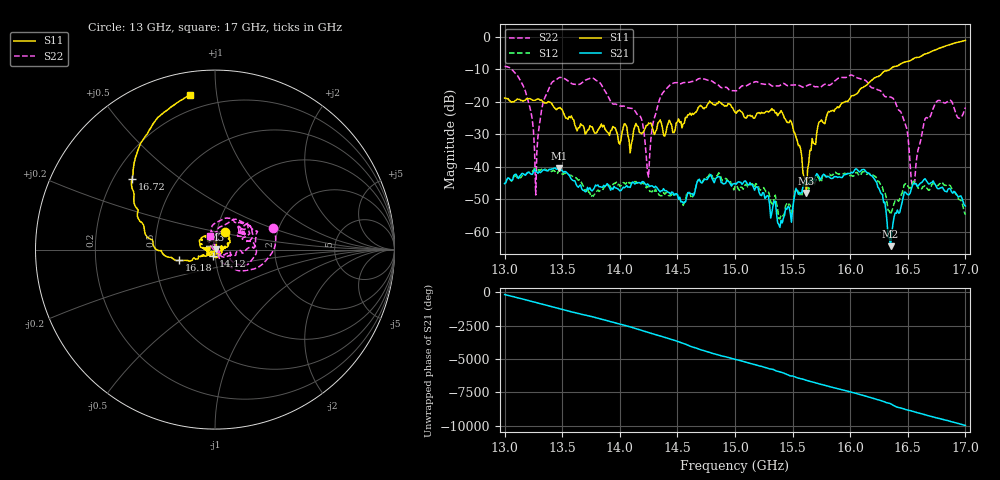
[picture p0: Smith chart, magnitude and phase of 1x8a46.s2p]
!Keysight Technologies,P9374A,MY57211807,A.19.30.04
!Date: Friday, May 08, 2026 14:14:22
!Correction: S11(C  2-Port  )
!S21(C  2-Port  )
!S12(C  2-Port  )
!S22(C  2-Port  )
!S2P File: Measurements: S11, S21, S12, S22:
# Hz S  dB  R 50
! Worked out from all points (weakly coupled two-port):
!   401 points, 13 GHz to 17 GHz, reference 50 ohm
!   highest |S21| = -40.34 dB at 13.47 GHz (marker M1); lowest = -64.4 dB at 16.35 GHz (marker M2)
!   lowest |S11| = -48.0 dB at 15.62 GHz (marker M3), VSWR 1.01, Z = 50.4 + j0.099 ohm
!   |S11| at or under -10 dB: start of sweep to 16.35 GHz
!   |S22| runs from -48.7 to -9.2 dB; largest |S21 - S12| = 0.0017
!   S11 on the Smith chart (normalised r, x): 13 GHz: 1.10, +0.22; 14.12 GHz: 0.98, -0.07; 16.18 GHz: 0.66, -0.08; 16.72 GHz: 0.28, +0.34; 17 GHz: 0.12, +0.84
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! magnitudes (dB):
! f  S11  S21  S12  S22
! 13 GHz  -18.9  -45.1  -44.7  -9.2
! 13.18 GHz  -19.5  -42.6  -42.5  -16.7
! 13.27 GHz  -19.5  -41.2  -40.7  -48.7
! 13.34 GHz  -20.1  -40.9  -40.5  -19.6
! 13.47 GHz  -22.0  -40.3  -41.1  -12.7
! 13.67 GHz  -27.3  -46.8  -45.1  -14.2
! 14.12 GHz  -28.8  -44.8  -44.2  -22.3
! 14.19 GHz  -29.8  -44.7  -45.2  -25.5
! 14.24 GHz  -27.2  -45.2  -46.0  -41.7
! 14.34 GHz  -26.2  -47.2  -48.6  -19.8
! 14.7 GHz  -21.1  -44.6  -44.4  -12.9
! 15 GHz  -23.1  -45.1  -46.0  -16.6
! 15.39 GHz  -23.4  -58.6  -55.9  -15.0
! 15.62 GHz  -48.0  -44.6  -45.5  -15.2
! 15.67 GHz  -31.3  -43.8  -44.6  -15.0
! 16.18 GHz  -13.6  -42.7  -42.7  -15.5
! 16.34 GHz  -10.2  -61.7  -53.6  -18.5
! 16.35 GHz  -9.9  -64.4  -54.7  -18.6
! 16.48 GHz  -7.8  -47.8  -45.2  -27.1
! 16.54 GHz  -7.0  -45.8  -45.1  -45.8
! 16.72 GHz  -4.4  -44.3  -45.0  -22.1
! 17 GHz  -1.2  -52.1  -54.8  -21.8
